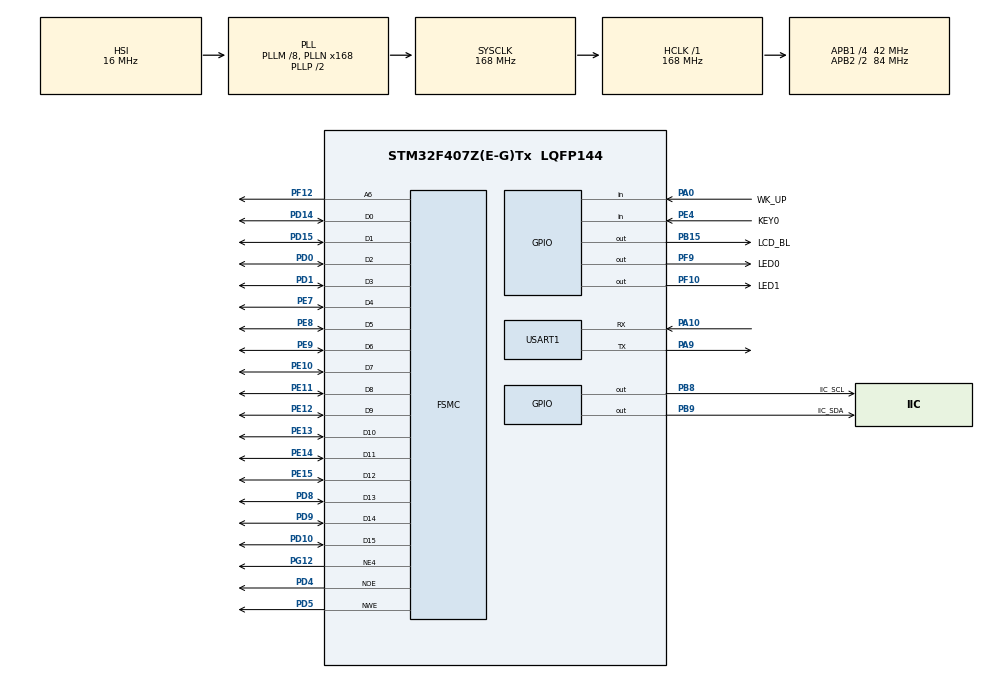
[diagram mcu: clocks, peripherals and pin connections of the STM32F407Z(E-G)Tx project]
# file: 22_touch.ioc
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FSMC.AddressSetupTime1=15
FSMC.BusTurnAroundDuration1=0
FSMC.DataSetupTime1=60
FSMC.ExtendedAddressSetupTime1=9
FSMC.ExtendedBusTurnAroundDuration1=0
FSMC.ExtendedDataSetupTime1=9
FSMC.ExtendedMode1=FSMC_EXTENDED_MODE_ENABLE
Mcu.Family=STM32F4
Mcu.Name=STM32F407Z(E-G)Tx
Mcu.Package=LQFP144
NVIC.PriorityGroup=NVIC_PRIORITYGROUP_2
NVIC.USART1_IRQn=true\:2\:2\:true\:false\:true\:true\:true\:true
PA0-WKUP.GPIO_Label=WK_UP
PA0-WKUP.GPIO_PuPd=GPIO_PULLDOWN
PA0-WKUP.Signal=GPIO_Input
PA10.GPIO_PuPd=GPIO_PULLUP
PA10.Mode=Asynchronous
PA10.Signal=USART1_RX
PA13.Mode=Serial_Wire
PA13.Signal=SYS_JTMS-SWDIO
PA14.Mode=Serial_Wire
PA14.Signal=SYS_JTCK-SWCLK
PA9.GPIO_PuPd=GPIO_PULLUP
PA9.Mode=Asynchronous
PA9.Signal=USART1_TX
PB15.GPIO_Label=LCD_BL
PB15.GPIO_PuPd=GPIO_PULLUP
PB15.GPIO_Speed=GPIO_SPEED_FREQ_VERY_HIGH
PB15.PinState=GPIO_PIN_SET
PB15.Signal=GPIO_Output
PB8.GPIO_Label=IIC_SCL
PB8.GPIO_Speed=GPIO_SPEED_FREQ_VERY_HIGH
PB8.PinState=GPIO_PIN_SET
PB8.Signal=GPIO_Output
PB9.GPIO_Label=IIC_SDA
PB9.GPIO_Speed=GPIO_SPEED_FREQ_VERY_HIGH
PB9.PinState=GPIO_PIN_SET
PB9.Signal=GPIO_Output
PC14-OSC32_IN.Mode=LSE-External-Oscillator
PC14-OSC32_IN.Signal=RCC_OSC32_IN
PC15-OSC32_OUT.Mode=LSE-External-Oscillator
PC15-OSC32_OUT.Signal=RCC_OSC32_OUT
PD0.Signal=FSMC_D2_DA2
PD1.Signal=FSMC_D3_DA3
PD10.Signal=FSMC_D15_DA15
PD14.Signal=FSMC_D0_DA0
PD15.Signal=FSMC_D1_DA1
PD4.Signal=FSMC_NOE
PD5.Signal=FSMC_NWE
PD8.Signal=FSMC_D13_DA13
PD9.Signal=FSMC_D14_DA14
PE10.Signal=FSMC_D7_DA7
PE11.Signal=FSMC_D8_DA8
PE12.Signal=FSMC_D9_DA9
PE13.Signal=FSMC_D10_DA10
PE14.Signal=FSMC_D11_DA11
PE15.Signal=FSMC_D12_DA12
PE4.GPIO_Label=KEY0
PE4.GPIO_PuPd=GPIO_PULLDOWN
PE4.Signal=GPIO_Input
PE7.Signal=FSMC_D4_DA4
PE8.Signal=FSMC_D5_DA5
PE9.Signal=FSMC_D6_DA6
PF10.GPIO_Label=LED1
PF10.GPIO_PuPd=GPIO_PULLDOWN
PF10.GPIO_Speed=GPIO_SPEED_FREQ_VERY_HIGH
PF10.PinState=GPIO_PIN_SET
PF10.Signal=GPIO_Output
PF12.Signal=FSMC_A6
PF9.GPIO_Label=LED0
PF9.GPIO_PuPd=GPIO_PULLDOWN
PF9.GPIO_Speed=GPIO_SPEED_FREQ_VERY_HIGH
PF9.PinState=GPIO_PIN_SET
PF9.Signal=GPIO_Output
PG12.Mode=NorPsramChipSelect4_1
PG12.Signal=FSMC_NE4
PH0-OSC_IN.Mode=HSE-External-Oscillator
PH0-OSC_IN.Signal=RCC_OSC_IN
PH1-OSC_OUT.Mode=HSE-External-Oscillator
PH1-OSC_OUT.Signal=RCC_OSC_OUT
ProjectManager.HeapSize=0x200
ProjectManager.StackSize=0x400
ProjectManager.TargetToolchain=STM32CubeIDE
RCC.48MHZClocksFreq_Value=84000000
RCC.AHBFreq_Value=168000000
RCC.APB1CLKDivider=RCC_HCLK_DIV4
RCC.APB1Freq_Value=42000000
RCC.APB1TimFreq_Value=84000000
RCC.APB2CLKDivider=RCC_HCLK_DIV2
RCC.APB2Freq_Value=84000000
RCC.APB2TimFreq_Value=168000000
RCC.CortexFreq_Value=168000000
RCC.HCLKFreq_Value=168000000
RCC.HSE_VALUE=25000000
RCC.HSI_VALUE=16000000
RCC.PLLM=8
RCC.PLLN=168
RCC.SYSCLKFreq_VALUE=168000000
RCC.SYSCLKSource=RCC_SYSCLKSOURCE_PLLCLK
RCC.VCOOutputFreq_Value=336000000
SH.FSMC_A6.0=FSMC_A6,A6_1
SH.FSMC_D0_DA0.0=FSMC_D0,16b-d1
SH.FSMC_D10_DA10.0=FSMC_D10,16b-d1
SH.FSMC_D11_DA11.0=FSMC_D11,16b-d1
SH.FSMC_D12_DA12.0=FSMC_D12,16b-d1
SH.FSMC_D13_DA13.0=FSMC_D13,16b-d1
SH.FSMC_D14_DA14.0=FSMC_D14,16b-d1
SH.FSMC_D15_DA15.0=FSMC_D15,16b-d1
SH.FSMC_D1_DA1.0=FSMC_D1,16b-d1
SH.FSMC_D2_DA2.0=FSMC_D2,16b-d1
SH.FSMC_D3_DA3.0=FSMC_D3,16b-d1
SH.FSMC_D4_DA4.0=FSMC_D4,16b-d1
SH.FSMC_D5_DA5.0=FSMC_D5,16b-d1
SH.FSMC_D6_DA6.0=FSMC_D6,16b-d1
SH.FSMC_D7_DA7.0=FSMC_D7,16b-d1
SH.FSMC_D8_DA8.0=FSMC_D8,16b-d1
SH.FSMC_D9_DA9.0=FSMC_D9,16b-d1
SH.FSMC_NOE.0=FSMC_NOE,Lcd1
SH.FSMC_NWE.0=FSMC_NWE,Lcd1
USART1.VirtualMode=VM_ASYNC
board=custom

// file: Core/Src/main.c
/* USER CODE BEGIN Header */
/**
 ****************************************************************************************************
 * @file        main.c
 * @author      ALIENTEK
 * @brief       TOUCH code
 * @license     Copyright (C) 2020-2032, ALIENTEK
 ****************************************************************************************************
 * @attention
 *
 * platform     : ALIENTEK M144-STM32F407 board
 * website      : https://www.alientek.com
 * forum        : http://www.openedv.com/forum.php
 *
 * change logs  :
 * version    data    notes
 * V1.0     20240410  the first version
 *
 ****************************************************************************************************
 */
/* USER CODE END Header */
#include "main.h"
#include "usart.h"
#include "gpio.h"
#include "fsmc.h"

/* USER CODE BEGIN Includes */
#include "../../BSP/LED/led.h"
#include "../../BSP/KEY/key.h"
#include "../../BSP/LCD/lcd.h"
#include "../../BSP/TOUCH/touch.h"
#include "../../SYSTEM/delay/delay.h"
/* USER CODE END Includes */

/* USER CODE BEGIN PTD */

/**
 * @brief   Clear the screen and display "RST" in the upper right corner
 * @param   None
 * @retval  None
 */
static void load_draw_dialog(void)
{
    lcd_clear(WHITE);                                                /* Clear the screen */
    lcd_show_string(lcddev.width - 24, 0, 200, 16, 16, "RST", BLUE); /* Display "RST" in the upper right corner */
}

/**
 * @brief   Draw a thick line
 * @param   x1: Starting X coordinate
 * @param   y1: Starting Y coordinate
 * @param   x2: Ending X coordinate
 * @param   y2: Ending Y coordinate
 * @param   size: Thickness of the line
 * @param   color: Color of the line
 * @retval  None
 */
static void lcd_draw_bline(uint16_t x1, uint16_t y1, uint16_t x2, uint16_t y2, uint8_t size, uint16_t color)
{
    uint16_t t;
    int xerr = 0;
    int yerr = 0;
    int delta_x;
    int delta_y;
    int distance;
    int incx, incy, row, col;

    if ((x1 < size) || (x2 < size) || (y1 < size) || (y2 < size))
    {
        return; // Ensure that the line is not drawn outside the screen
    }

    delta_x = x2 - x1;                          /* Calculate coordinate increments */
    delta_y = y2 - y1;
    row = x1;
    col = y1;
    if (delta_x > 0)
    {
        incx = 1;                               /* Set the step direction */
    }
    else if (delta_x == 0)
    {
        incx = 0;                               /* Vertical line */
    }
    else
    {
        incx = -1;
        delta_x = -delta_x;
    }

    if (delta_y > 0)
    {
        incy = 1;
    }
    else if (delta_y == 0)
    {
        incy = 0;                               /* Horizontal line */
    }
    else
    {
        incy = -1;
        delta_y = -delta_y;
    }

    if (delta_x > delta_y)
    {
        distance = delta_x;                     /* Select the basic increment coordinate axis */
    }
    else
    {
        distance = delta_y;
    }

    for (t=0; t<=(distance + 1); t++)           /* Draw the line */
    {
        lcd_fill_circle(row, col, size, color); /* Draw a point */
        xerr += delta_x;
        yerr += delta_y;

        if (xerr > distance)
        {
            xerr -= distance;
            row += incx;
        }

        if (yerr > distance)
        {
            yerr -= distance;
            col += incy;
        }
    }
}

/**
 * @brief   Resistive Touch Screen Test
 * @param   None
 * @retval  None
 */
void rtp_test(void)
{
    uint8_t key;
    uint8_t i = 0;

    while (1)
    {
        key = key_scan(0);
        tp_dev.scan(0);

        if (tp_dev.sta & TP_PRES_DOWN)                                          /* Touch screen is pressed */
        {
            if ((tp_dev.x[0] < lcddev.width) && (tp_dev.y[0] < lcddev.height))
            {
                if ((tp_dev.x[0] > (lcddev.width - 24)) && (tp_dev.y[0] < 16))
                {
                    load_draw_dialog();                                         /* Clear */
                }
                else
                {
                    tp_draw_big_point(tp_dev.x[0], tp_dev.y[0], RED);           /* Draw point */
                }
            }
        }
        else
        {
            delay_ms(10);                                                       /* When no key is pressed */
        }

        if (key == KEY0_PRES)                                                   /* KEY0 pressed, execute calibration procedure */
        {
            tp_adjust();                                                        /* Screen calibration */
            tp_save_adjust_data();
            load_draw_dialog();
        }

        i++;
        if ((i % 20) == 0)
        {
            LED0_TOGGLE();
        }
    }
}

/* Color of 10 touch points (for capacitive touch screen) */
static const uint16_t POINT_COLOR_TBL[10] = {RED, GREEN, BLUE, BROWN, YELLOW,
                                             MAGENTA, CYAN, LIGHTBLUE, BRRED, GRAY};

/**
 * @brief   Capacitive Touch Screen Test
 * @param   None
 * @retval  None
 */
static void ctp_test(void)
{
    uint8_t t = 0;
    uint8_t i = 0;
    uint16_t lastpos[10][2];
    uint8_t maxp = 5;

    if (lcddev.id == 0x1018)
    {
        maxp = 10;
    }

    while (1)
    {
        tp_dev.scan(0);
        for (t = 0; t < maxp; t++)
        {
            if ((tp_dev.sta) & (1 << t))
            {
                if ((tp_dev.x[t] < lcddev.width) && (tp_dev.y[t] < lcddev.height))                                  /* Coordinates are within the screen range */
                {
                    if (lastpos[t][0] == 0xFFFF)
                    {
                        lastpos[t][0] = tp_dev.x[t];
                        lastpos[t][1] = tp_dev.y[t];
                    }

                    lcd_draw_bline(lastpos[t][0], lastpos[t][1], tp_dev.x[t], tp_dev.y[t], 2, POINT_COLOR_TBL[t]);  /* Draw line */
                    lastpos[t][0] = tp_dev.x[t];
                    lastpos[t][1] = tp_dev.y[t];

                    if (tp_dev.x[t] > (lcddev.width - 24) && tp_dev.y[t] < 20)
                    {
                        load_draw_dialog();                                                                         /* Clear */
                    }
                }
            }
            else
            {
                lastpos[t][0] = 0xFFFF;
            }
        }

        delay_ms(5);
        i++;
        if ((i % 20) == 0)
        {
            LED0_TOGGLE();
        }
    }
}

/* USER CODE END PTD */

void SystemClock_Config(void);

int main(void)
{

  /* MCU Configuration--------------------------------------------------------*/

  /* Reset of all peripherals, Initializes the Flash interface and the Systick. */
  HAL_Init();

  /* Configure the system clock */
  SystemClock_Config();

  /* USER CODE BEGIN SysInit */
  delay_init(168);
  /* USER CODE END SysInit */

  /* Initialize all configured peripherals */
  MX_GPIO_Init();
  MX_USART1_UART_Init();
  MX_FSMC_Init();
  /* USER CODE BEGIN 2 */

  lcd_init();
  tp_dev.init();                      /* Initialize the touch screen */

  lcd_show_string(30, 50, 200, 16, 16, "STM32", RED);
  lcd_show_string(30, 70, 200, 16, 16, "TOUCH TEST", RED);
  lcd_show_string(30, 90, 200, 16, 16, "ATOM@ALIENTEK", RED);

  /* Resistive screen displays touch calibration prompt */
  if ((tp_dev.touchtype & 0x80) == 0)
  {
      lcd_show_string(30, 110, 200, 16, 16, "Press KEY0 to Adjust", RED);
  }
  HAL_Delay(1500);
  load_draw_dialog();

  if (tp_dev.touchtype & 0x80)
  {
	  /* Capacitive screen test */
      ctp_test();
  }
  else
  {
	  /* Resistive screen test */
      rtp_test();
  }

  /* USER CODE END 2 */

  /* Infinite loop */
  while (1)
  {
	  HAL_Delay(10);
  }
}

void SystemClock_Config(void)
{
  RCC_OscInitTypeDef RCC_OscInitStruct = {0};
  RCC_ClkInitTypeDef RCC_ClkInitStruct = {0};

  /** Configure the main internal regulator output voltage
  */
  __HAL_RCC_PWR_CLK_ENABLE();
  __HAL_PWR_VOLTAGESCALING_CONFIG(PWR_REGULATOR_VOLTAGE_SCALE1);

  /** Initializes the RCC Oscillators according to the specified parameters
  * in the RCC_OscInitTypeDef structure.
  */
  RCC_OscInitStruct.OscillatorType = RCC_OSCILLATORTYPE_HSI;
  RCC_OscInitStruct.HSIState = RCC_HSI_ON;
  RCC_OscInitStruct.HSICalibrationValue = RCC_HSICALIBRATION_DEFAULT;
  RCC_OscInitStruct.PLL.PLLState = RCC_PLL_ON;
  RCC_OscInitStruct.PLL.PLLSource = RCC_PLLSOURCE_HSI;
  RCC_OscInitStruct.PLL.PLLM = 8;
  RCC_OscInitStruct.PLL.PLLN = 168;
  RCC_OscInitStruct.PLL.PLLP = RCC_PLLP_DIV2;
  RCC_OscInitStruct.PLL.PLLQ = 4;
  if (HAL_RCC_OscConfig(&RCC_OscInitStruct) != HAL_OK)
  {
    Error_Handler();
  }

  /** Initializes the CPU, AHB and APB buses clocks
  */
  RCC_ClkInitStruct.ClockType = RCC_CLOCKTYPE_HCLK|RCC_CLOCKTYPE_SYSCLK
                              |RCC_CLOCKTYPE_PCLK1|RCC_CLOCKTYPE_PCLK2;
  RCC_ClkInitStruct.SYSCLKSource = RCC_SYSCLKSOURCE_PLLCLK;
  RCC_ClkInitStruct.AHBCLKDivider = RCC_SYSCLK_DIV1;
  RCC_ClkInitStruct.APB1CLKDivider = RCC_HCLK_DIV4;
  RCC_ClkInitStruct.APB2CLKDivider = RCC_HCLK_DIV2;

  if (HAL_RCC_ClockConfig(&RCC_ClkInitStruct, FLASH_LATENCY_5) != HAL_OK)
  {
    Error_Handler();
  }
}

void Error_Handler(void)
{
  __disable_irq();
  while (1)
  {
  }
}
